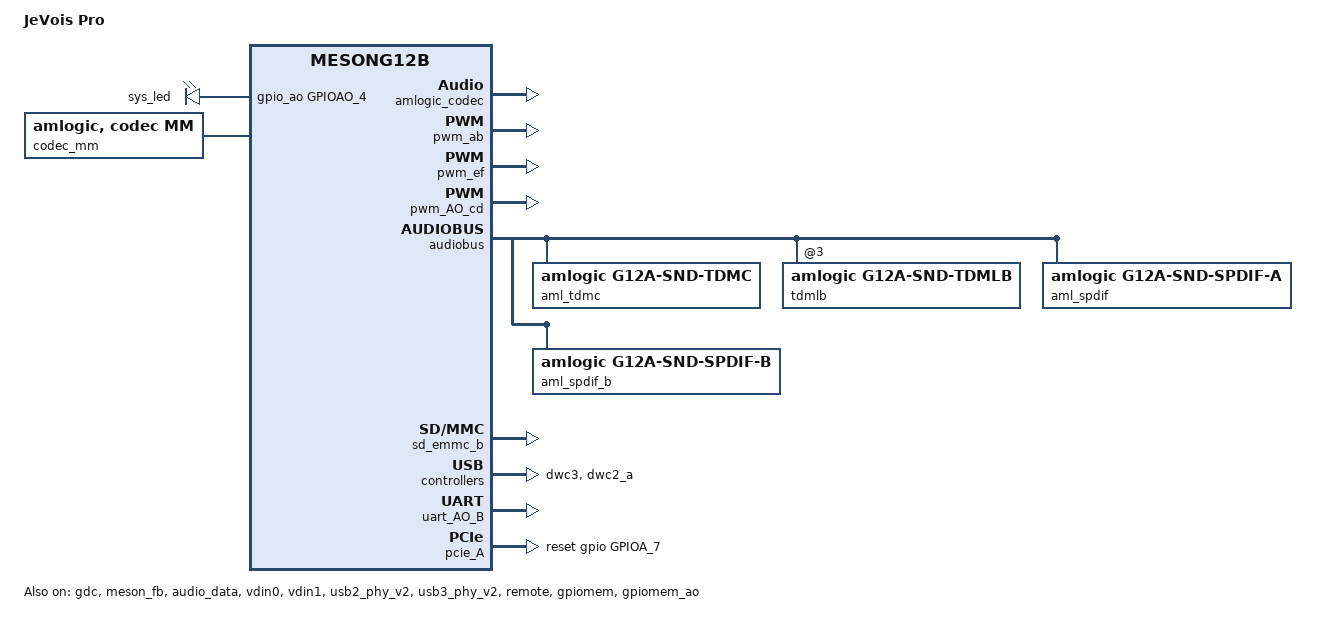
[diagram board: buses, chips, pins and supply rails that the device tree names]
/*
 * arch/arm64/boot/dts/amlogic/jvpro_linux.dts
 *
 * inspired by arch/arm64/boot/dts/amlogic/kvim3_linux.dts
 *
 * Copyright (C) 2020 JeVois Inc. All rights reserved.
 *
 * This program is free software; you can redistribute it and/or modify
 * it under the terms of the GNU General Public License as published by
 * the Free Software Foundation; either version 2 of the License, or
 * (at your option) any later version.
 *
 * This program is distributed in the hope that it will be useful, but WITHOUT
 * ANY WARRANTY; without even the implied warranty of MERCHANTABILITY or
 * FITNESS FOR A PARTICULAR PURPOSE.  See the GNU General Public License for
 * more details.
 *
 */

/dts-v1/;

#include "mesong12b.dtsi"
#include "partition_linux.dtsi"

/ {
	model = "JeVois Pro";
	amlogic-dt-id = "g12b_jvpro";
	compatible = "amlogic, g12b";
	interrupt-parent = <&gic>;
	#address-cells = <2>;
	#size-cells = <2>;

	chosen { };

	aliases {
		serial0 = &uart_AO; // on by default
		serial1 = &uart_A;
		serial2 = &uart_B;
		serial3 = &uart_C;
		serial4 = &uart_AO_B;
		i2c0 = &i2c0;
		i2c1 = &i2c1;
		i2c2 = &i2c2;
		i2c3 = &i2c3;
		i2c4 = &i2c_AO;
		tsensor0 = &p_tsensor;
		tsensor1 = &d_tsensor;
		spi1 = &spicc1;
	};

    //	memory@00000000 {
        //		device_type = "memory";
        //		linux,usable-memory = <0x0 0x0 0x0 0x80000000>;
    //	};

	reserved-memory {
		#address-cells = <2>;
		#size-cells = <2>;
		ranges;
        
		/* global autoconfigured region for contiguous allocations */
		ramoops@0x07400000 {
			compatible = "ramoops";
			reg = <0x0 0x07400000 0x0 0x00100000>;
			record-size = <0x8000>;
			console-size = <0x8000>;
			ftrace-size = <0x40000>;
		};

		secmon_reserved:linux,secmon {
			compatible = "shared-dma-pool";
			reusable;
			size = <0x0 0x400000>;
			alignment = <0x0 0x400000>;
			alloc-ranges = <0x0 0x05000000 0x0 0x400000>;
			clear-map;
		};

		secos_reserved:linux,secos {
			status = "disable";
			compatible = "amlogic, aml_secos_memory";
			reg = <0x0 0x05300000 0x0 0x2000000>;
			no-map;
		};
        
		logo_reserved:linux,meson-fb {
			compatible = "shared-dma-pool";
			reusable;
			size = <0x0 0x800000>;
			alignment = <0x0 0x400000>;
			alloc-ranges = <0x0 0x7f800000 0x0 0x800000>;
		};
        
		ion_cma_reserved:linux,ion-dev {
			compatible = "shared-dma-pool";
			reusable;
			size = <0x0 0x8000000>;
			alignment = <0x0 0x400000>;
		};

		//di_reserved:linux,di {
			//compatible = "amlogic, di-mem";
			/* buffer_size = 3621952(yuv422 8bit) */
			/* 4179008(yuv422 10bit full pack mode) */
			/** 10x3621952=34.6M(0x23) support 8bit **/
			/** 10x4736064=45.2M(0x2e) support 12bit **/
			/** 10x4179008=40M(0x28) support 10bit **/
			//size = <0x0 0x2800000>;
			//no-map;
		//};
        
		/*di CMA pool */
		di_cma_reserved:linux,di_cma {
			compatible = "shared-dma-pool";
			reusable;
			/* buffer_size = 3621952(yuv422 8bit)
			 *  | 4736064(yuv422 10bit)
			 *  | 4074560(yuv422 10bit full pack mode)
			 * 10x3621952=34.6M(0x23) support 8bit
			 * 10x4736064=45.2M(0x2e) support 12bit
			 * 10x4074560=40M(0x28) support 10bit
			 */
			size = <0x0 0x02800000>;
			alignment = <0x0 0x400000>;
		};
        
		/*  POST PROCESS MANAGER */
		ppmgr_reserved:linux,ppmgr {
			compatible = "shared-dma-pool";
			size = <0x0 0x0>;
		};
        
		codec_mm_cma:linux,codec_mm_cma {
			compatible = "shared-dma-pool";
			reusable;
			/* ion_codec_mm max can alloc size 80M*/
			size = <0x0 0x13400000>;
			alignment = <0x0 0x400000>;
			linux,contiguous-region;
		};
        
		/* codec shared reserved */
		codec_mm_reserved:linux,codec_mm_reserved {
			compatible = "amlogic, codec-mm-reserved";
			size = <0x0 0x0>;
			alignment = <0x0 0x100000>;
			//no-map;
		};
        
		/*  vdin0 CMA pool */
		vdin0_cma_reserved:linux,vdin0_cma {
			compatible = "shared-dma-pool";
			reusable;
		    /* 1920x1080x2x4  =16+4 M */
			size = <0x0 0x04000000>;
			alignment = <0x0 0x400000>;
		};
        
		/*  vdin1 CMA pool */
		vdin1_cma_reserved:linux,vdin1_cma {
			compatible = "shared-dma-pool";
			reusable;
			/* 1920x1080x2x4  =16 M */
			size = <0x0 0x04000000>;
			alignment = <0x0 0x400000>;
		};
        
		galcore_reserved:linux,galcore {
			compatible = "shared-dma-pool";
			reusable;
			size = <0x0 0x1000000>;
			alignment = <0x0 0x400000>;
			linux,contiguous-region;
		};
        
		isp_cma_reserved:linux,isp_cma {
			compatible = "shared-dma-pool";
			reusable;
			status = "okay";
			size = <0x0 0x1f000000>;
			alignment = <0x0 0x400000>;
		};

		adapt_cma_reserved:linux,adapt_cma {
			compatible = "shared-dma-pool";
			reusable;
			status = "okay";
			size = <0x0 0x03000000>;
			alignment = <0x0 0x400000>;
		};
		gdc_cma_reserved:linux,gdc_cma {
			compatible = "shared-dma-pool";
			reusable;
			status = "okay";
			size = <0x0 0x04000000>;
			alignment = <0x0 0x400000>;
		};
	};

    // GPU:
	galcore {
		status = "okay";
		memory-region = <&galcore_reserved>;
	};

    // JEVOIS red LED on GPIOAO_4
	gpioleds {
		compatible = "gpio-leds";
		status = "okay";

		sys_led {
			label="sys_led";
			gpios=<&gpio_ao GPIOAO_4 GPIO_ACTIVE_HIGH>;
			default-state ="on";
			retain-state-suspended;
			linux,default-trigger="default-on";
		};
	};

    // JEVOIS: cvbs output not connected
    cvbsout {
		compatible = "amlogic, cvbsout-g12b";
		dev_name = "cvbsout";
		status = "disabled";
		clocks = <&clkc CLKID_VCLK2_ENCI
			&clkc CLKID_VCLK2_VENCI0
			&clkc CLKID_VCLK2_VENCI1
			&clkc CLKID_DAC_CLK>;
		clock-names = "venci_top_gate",
			"venci_0_gate",
			"venci_1_gate",
			"vdac_clk_gate";

		/* performance: reg_address, reg_value */
		/* g12b */
		performance = <0x1bf0  0x9
			0x1b56  0x333
			0x1b12  0x8080
			0x1b05  0xfd
			0x1c59  0xf850
			0xffff  0x0>; /* ending flag */
		performance_sarft = <0x1bf0  0x9
			0x1b56  0x333
			0x1b12  0x0
			0x1b05  0x9
			0x1c59  0xfc48
			0xffff  0x0>; /* ending flag */
	};

    // JEVOIS for optional add-in M.2 wifi/bluetooth card
    // JEVOIS uses: GPIOX_17=BT_EN, GPIOX_18=BT_WAKE_HOST, GPIOX_19=HOST_WAKE_BT
    // See linux/drivers/amlogic/bluetooth/bt_device.c
    // Looks like BT_WAKE_HOST is not supported in driver; it supports reset but we do not have that on the M.2 conn.
    // Note: disabled by default, can be enabled with wifi-bt.dts overlay.
	bt_dev {
		compatible = "amlogic, bt-dev";
		dev_name = "bt-dev";
		status = "disabled";
		//gpio_reset = <&gpio GPIOX_17 GPIO_ACTIVE_HIGH>;
		gpio_en = <&gpio GPIOX_17 GPIO_ACTIVE_HIGH>;
		gpio_hostwake = <&gpio GPIOX_19 GPIO_ACTIVE_HIGH>;
	};

    // JEVOIS for optional add-in M.2 wifi/bluetooth card
    // JEVOIS uses GPIOX_6=WIFI_PWREN, GPIOX_7=WIFI_WAKE_HOST, GPIOX_16/PWM_E=WIFI_32K
    // GPIOA_10 = PCIE_ALERT#
    // See linux/drivers/amlogic/wifi/wifi_dt.c
    // Note: disabled by default, can be enabled with wifi-bt.dts overlay.
	wifi {
		compatible = "amlogic, aml_wifi";
		dev_name = "aml_wifi";
		status = "disabled";
		interrupt_pin = <&gpio GPIOA_10 GPIO_ACTIVE_HIGH>;
		irq_trigger_type = "GPIO_IRQ_LOW";
		power_on_pin = <&gpio GPIOX_6 GPIO_ACTIVE_HIGH>;
		//dhd_static_buf;	// if use bcm wifi, config dhd_static_buf
		pinctrl-names = "default";
		pinctrl-0 = <&pwm_e_pins>;
		pwm_config = <&wifi_pwm_conf>;
	};

    // Configuration for PWM E and F.
    // JEVOIS uses PWM_E on GPIOX_16 for WIFI_32K, PWM_F unused (available on CAM_ID3)
	wifi_pwm_conf:wifi_pwm_conf {
		pwm_channel1_conf {
			pwms = <&pwm_ef MESON_PWM_0 30541 0>;
			duty-cycle = <15270>;
			times = <10>;
		};
        
        // FIXME what is this for?
		pwm_channel2_conf {
			pwms = <&pwm_ef MESON_PWM_2 30500 0>;
			duty-cycle = <15250>;
			times = <12>;
		};
	};

	picdec_cma_reserved:linux,picdec {
		compatible = "shared-dma-pool";
		reusable;
		size = <0x0>;
		alignment = <0x0>;
		linux,contiguous-region;
	};

	codec_mm {
		compatible = "amlogic, codec, mm";
		memory-region = <&codec_mm_cma &codec_mm_reserved>;
		dev_name = "codec_mm";
		status = "okay";
	};

	ppmgr {
		compatible = "amlogic, ppmgr";
		memory-region = <&ppmgr_reserved>;
		dev_name = "ppmgr";
		status = "okay";
	};

	gpiomem {
		compatible = "amlogic, gpiomem";
		reg = <0x0 0xff634000 0x0 0x1000>;
		dev_name = "gpiomem";
		status = "okay";
	};

	gpiomem_ao {
		compatible = "amlogic, gpiomem";
		reg = <0x0 0xff800000 0x0 0x1000>;
		dev_name = "gpiomem-ao";
		status = "okay";
	};

	picdec {
		compatible = "amlogic, picdec";
		memory-region = <&picdec_cma_reserved>;
		dev_name = "picdec";
		status = "okay";
	};

	deinterlace {
		compatible = "amlogic, deinterlace";
		status = "okay";
		/* 0:use reserved; 1:use cma; 2:use cma as reserved */
		flag_cma = <1>;
		//memory-region = <&di_reserved>;
		memory-region = <&di_cma_reserved>;
		interrupts = <0 46 1
				0 40 1>;
		interrupt-names = "pre_irq", "post_irq";
		clocks = <&clkc CLKID_VPU_CLKB_TMP_COMP>,
			<&clkc CLKID_VPU_CLKB_COMP>;
		clock-names = "vpu_clkb_tmp_composite",
			"vpu_clkb_composite";
		clock-range = <334 667>;
		/* buffer-size = <3621952>;(yuv422 8bit) */
		buffer-size = <4074560>;/*yuv422 fullpack*/
		/* reserve-iomap = "true"; */
		/* if enable nr10bit, set nr10bit-support to 1 */
		post-wr-support = <1>;
		nr10bit-support = <1>;
		nrds-enable = <1>;
		pps-enable = <1>;
	};
    
	ionvideo {
		compatible = "amlogic, ionvideo";
		dev_name = "ionvideo";
		status = "okay";
	};

	amlvideo2_0 {
		compatible = "amlogic, amlvideo2";
		dev_name = "amlvideo2";
		status = "okay";
		amlvideo2_id = <0>;
		cma_mode = <1>;
	};

	amlvideo2_1 {
		compatible = "amlogic, amlvideo2";
		dev_name = "amlvideo2";
		status = "okay";
		amlvideo2_id = <1>;
		cma_mode = <1>;
	};

    // JEVOIS: we have no button, thus disabled, except dolby_fw needs it when compiling the kernel. So assign an unused
    // GPIO, eg GPIOAO_7 (unconnected on jevois)
	gpio_keypad {
		compatible = "amlogic, gpio_keypad";
		status = "disabled";
		scan_period = <20>;
		key_num = <1>;
		key_name = "power";
		key_code = <116>;
		key-gpios = <&gpio_ao GPIOAO_7 GPIO_ACTIVE_HIGH>; /* GPIOAO_7 */
		detect_mode = <0>;/*0:polling mode, 1:irq mode*/
	};

    // JEVOIS: the SARADC converter is unconnected. Here only for software compaibility.
	adc_keypad {
		compatible = "amlogic, adc_keypad";
		status = "disabled";
		key_name = "vol-", "vol+", "enter";
		key_num = <3>;
		io-channels = <&saradc SARADC_CH2>;
		io-channel-names = "key-chan-2";
		key_chan = <SARADC_CH2 SARADC_CH2 SARADC_CH2>;
		key_code = <114 115 28>;
		key_val = <143 266 389>; //val=voltage/1800mV*1023
		key_tolerance = <40 40 40>;
	};

    // JEVOIS: this is for data stored in OTP memory
	unifykey{
		compatible = "amlogic, unifykey";
		status = "ok";
		unifykey-num = <16>;
		unifykey-index-0 = <&keysn_0>;
		unifykey-index-1 = <&keysn_1>;
		unifykey-index-2 = <&keysn_2>;
		unifykey-index-3 = <&keysn_3>;
		unifykey-index-4 = <&keysn_4>;
		unifykey-index-5 = <&keysn_5>;
		unifykey-index-6 = <&keysn_6>;
		unifykey-index-7 = <&keysn_7>;
		unifykey-index-8 = <&keysn_8>;
		unifykey-index-9 = <&keysn_9>;
		unifykey-index-10= <&keysn_10>;
		unifykey-index-11= <&keysn_11>;
		unifykey-index-12= <&keysn_12>;
		unifykey-index-13= <&keysn_13>;
		unifykey-index-14= <&keysn_14>;
		unifykey-index-15= <&keysn_15>;

		keysn_0: key_0{
			key-name = "usid";
			key-device = "normal";
			key-permit = "read","write","del";
		};
		keysn_1:key_1{
			key-name = "mac";
			key-device = "normal";
			key-permit = "read","write","del";
		};
		keysn_2:key_2{
			key-name = "hdcp";
			key-device = "secure";
			key-type = "sha1";
			key-permit = "read","write","del";
		};
		keysn_3:key_3{
			key-name = "secure_boot_set";
			key-device = "efuse";
			key-permit = "write";
		};
		keysn_4:key_4{
			key-name = "mac_bt";
			key-device = "normal";
			key-permit = "read","write","del";
			key-type  = "mac";
		};
		keysn_5:key_5{
			key-name = "mac_wifi";
			key-device = "normal";
			key-permit = "read","write","del";
			key-type = "mac";
		};
		keysn_6:key_6{
			key-name = "hdcp2_tx";
			key-device = "normal";
			key-permit = "read","write","del";
		};
		keysn_7:key_7{
			key-name = "hdcp2_rx";
			key-device = "normal";
			key-permit = "read","write","del";
		};
		keysn_8:key_8{
			key-name = "widevinekeybox";
			key-device = "secure";
			key-permit = "read","write","del";
		};
		keysn_9:key_9{
			key-name = "deviceid";
			key-device = "normal";
			key-permit = "read","write","del";
		};
		keysn_10:key_10{
			key-name = "hdcp22_fw_private";
			key-device = "secure";
			key-permit = "read","write","del";
		};
		keysn_11:key_11{
			key-name = "PlayReadykeybox25";
			key-device = "secure";
			key-permit = "read","write","del";
		};
		keysn_12:key_12{
			key-name = "prpubkeybox";// PlayReady
			key-device = "secure";
			key-permit = "read","write","del";
		};
		keysn_13:key_13{
			key-name = "prprivkeybox";// PlayReady
			key-device = "secure";
			key-permit = "read","write","del";
		};
		keysn_14:key_14{
			key-name = "netflix_mgkid";
			key-device = "secure";
			key-permit = "read","write","del";
		};
		keysn_15:key_15{
			key-name = "eth_exphy_para";
			key-device = "normal";
			key-permit = "read","write","del";
		};
	};//End unifykey

	efuse: efuse {
		compatible = "amlogic, efuse";
		read_cmd = <0x82000030>;
		write_cmd = <0x82000031>;
		get_max_cmd = <0x82000033>;
		key = <&efusekey>;
		status = "okay";
	};

	efusekey:efusekey {
		keynum = <1>;
		key0 = <&key_0>;
		key_0:key_0 {
			keyname = "mac";
			offset = <0>;
			size = <6>;
		};
	};//End efusekey

	amlvecm {
		compatible = "amlogic, vecm";
		dev_name = "aml_vecm";
		status = "okay";
		gamma_en = <0>;/*1:enabel ;0:disable*/
		wb_en = <0>;/*1:enabel ;0:disable*/
		cm_en = <0>;/*1:enabel ;0:disable*/

		interrupts = <0 56 1>;
		interrupt-names = "vsync2";
	};
    
	amdolby_vision {
		compatible = "amlogic, dolby_vision_g12a";
		dev_name = "aml_amdolby_vision_driver";
		status = "okay";
		tv_mode = <0>;/*1:enabel ;0:disable*/
	};

	/* Audio Related start */
	pdm_codec:dummy{
		#sound-dai-cells = <0>;
		compatible = "amlogic, pdm_dummy_codec";
		status = "okay";
	};
    
	spdif_codec:spdif_dummy{
		#sound-dai-cells = <0>;
		compatible = "linux,spdif-dit";
		status = "okay";
	};
    
	dummy_codec:dummy{
		#sound-dai-cells = <0>;
		compatible = "amlogic, aml_dummy_codec";
		status = "okay";
	};
    
	amlogic_codec:t9015{
		#sound-dai-cells = <0>;
		compatible = "amlogic, aml_codec_T9015";
		reg = <0x0 0xFF632000 0x0 0x2000>;
		is_auge_used = <1>; /* meson or auge chipset used */
		tdmout_index = <1>;
		status = "okay";
	};
    
	audio_effect:eqdrc{
		/*eq_enable = <1>;*/
		/*drc_enable = <1>;*/
		/*
		 * 0:tdmout_a
		 * 1:tdmout_b
		 * 2:tdmout_c
		 * 3:spdifout
		 * 4:spdifout_b
		 */
		eqdrc_module = <2>; // JEVOIS: was 1
		/* max 0xf, each bit for one lane, usually one lane */
		lane_mask = <0x1>;
		/* max 0xff, each bit for one channel */
		channel_mask = <0x3>;
	};
    
	auge_sound {
		compatible = "amlogic, g12a-sound-card";
		aml-audio-card,name = "AML-AUGESOUND";

		//aml-audio-card,aux-devs = <&amlogic_codec>;
		/*for audio effect ,eqdrc */
		aml-audio-card,effect = <&audio_effect>;

		aml-audio-card,dai-link@0 {
			mclk-fs = <128>;
			/* suffix-name, sync with android audio hal
			 * what's the dai link used for
			 */
			suffix-name = "alsaPORT-spdif-b";
			cpu {
				sound-dai = <&aml_spdif_b>;
				system-clock-frequency = <6144000>;
			};
			codec {
				sound-dai = <&spdif_codec>;
			};
		};

        // JEVOIS: BTPCM, we use tdmc on GPIOZ_2,3,6,7
        // VIM3 used tdma
		// aml-audio-card,dai-link@1 {
		// 	format = "dsp_a";
		// 	mclk-fs = <512>;
		// 	//continuous-clock;
		// 	//bitclock-inversion;
		// 	//frame-inversion;
		// 	//bitclock-master = <&tdmacodec>;
		// 	//frame-master = <&tdmacodec>;
		// 	/* suffix-name, sync with android audio hal
		// 	 * what's the dai link used for
		// 	 */
		// 	suffix-name = "alsaPORT-pcm";
		// 	tdmacpu: cpu {
		// 		sound-dai = <&aml_tdma>;
		// 		dai-tdm-slot-tx-mask =
		// 					<1 1 1 1 1 1 1 1>;
		// 		dai-tdm-slot-rx-mask =
		// 					<1 1 1 1 1 1 1 1>;
		// 		dai-tdm-slot-num = <8>;
		// 		dai-tdm-slot-width = <32>;
		// 		system-clock-frequency = <24576000>;
		// 	};
		// 	tdmacodec: codec {
		// 		sound-dai = <&dummy_codec &dummy_codec>;
		// 	};
		// };

        // JEVOIS; TDMB unused
		// aml-audio-card,dai-link@2 {
		// 	format = "i2s";
		// 	mclk-fs = <256>;
		// 	//continuous-clock;
		// 	//bitclock-inversion;
		// 	//frame-inversion;
		// 	bitclock-master = <&aml_tdmb>;
		// 	frame-master = <&aml_tdmb>;
		// 	//bitclock-master = <&tdmbcodec>;
		// 	//frame-master = <&tdmbcodec>;
		// 	/* suffix-name, sync with android audio hal
		// 	 * what's the dai link used for
		// 	 */
		// 	suffix-name = "alsaPORT-i2s";
		// 	cpu {
		// 		sound-dai = <&aml_tdmb>;
		// 		dai-tdm-slot-tx-mask = <1 1>;
		// 		dai-tdm-slot-rx-mask = <1 1>;
		// 		dai-tdm-slot-num = <2>;
		// 		dai-tdm-slot-width = <32>;
		// 		system-clock-frequency = <12288000>;
		// 	};
		// 	tdmbcodec: codec {
		// 		sound-dai = <&dummy_codec &dummy_codec
		// 		&amlogic_codec>;
		// 	};
		// };

		aml-audio-card,dai-link@3 {
			format = "i2s"; // JEVOIS was dsp_a i2s
			mclk-fs = <256>; // JEVOIS was 512 256
			//continuous-clock;
			//bitclock-inversion;
			//frame-inversion;
			//JEVOIS bitclock-master = <&aml_tdmc>;
			//JEVOIS frame-master = <&aml_tdmc>;
			/* suffix-name, sync with android audio hal
			 * what's the dai link used for
			 */
			suffix-name = "alsaPORT-pcm"; // was tdm
			cpu { ///////////////////////FIXME match TDMA above???
				sound-dai = <&aml_tdmc>;
				dai-tdm-slot-tx-mask = <1 1>;
				dai-tdm-slot-rx-mask = <1 1>;
				dai-tdm-slot-num = <2>;
				dai-tdm-slot-width = <32>;
				system-clock-frequency = <12288000>;
			};
			codec {
				sound-dai = <&dummy_codec &dummy_codec>;
			};
		};

		// aml-audio-card,dai-link@4 {
		// 	mclk-fs = <128>;
		// 	/* suffix-name, sync with android audio hal
		// 	 * what's the dai link used for
		// 	 */
		// 	suffix-name = "alsaPORT-spdif";
		// 	cpu {
		// 		sound-dai = <&aml_spdif>;
		// 		system-clock-frequency = <6144000>;
		// 	};
		// 	codec {
		// 		sound-dai = <&spdif_codec>;
		// 	};
		// };
	};
	audiolocker: locker {
		compatible = "amlogic, audiolocker";
		clocks = <&clkaudio CLKID_AUDIO_LOCKER_OUT
				&clkaudio CLKID_AUDIO_LOCKER_IN
				&clkaudio CLKID_AUDIO_MCLK_D
				&clkaudio CLKID_AUDIO_MCLK_E
				&clkc CLKID_MPLL1
				&clkc CLKID_MPLL2>;
		clock-names = "lock_out", "lock_in", "out_src",
					"in_src", "out_calc", "in_ref";
		interrupts = <GIC_SPI 1 IRQ_TYPE_EDGE_RISING>;
		interrupt-names = "irq";
		frequency = <49000000>; /* pll */
		dividor = <49>; /* locker's parent */
		status = "okay";
	};
	/* Audio Related end */

	cpu_opp_table0: cpu_opp_table0 {
		compatible = "operating-points-v2";
		opp-shared;

		opp00 {
			opp-hz = /bits/ 64 <500000000>;
			opp-microvolt = <730000>;
		};
		opp01 {
			opp-hz = /bits/ 64 <667000000>;
			opp-microvolt = <730000>;
		};
		opp02 {
			opp-hz = /bits/ 64 <1000000000>;
			opp-microvolt = <760000>;
		};
		opp03 {
			opp-hz = /bits/ 64 <1200000000>;
			opp-microvolt = <780000>;
		};
		opp04 {
			opp-hz = /bits/ 64 <1398000000>;
			opp-microvolt = <810000>;
		};
		opp05 {
			opp-hz = /bits/ 64 <1512000000>;
			opp-microvolt = <860000>;
		};
		opp06 {
			opp-hz = /bits/ 64 <1608000000>;
			opp-microvolt = <900000>;
		};
		opp07 {
			opp-hz = /bits/ 64 <1704000000>;
			opp-microvolt = <960000>;
		};
		opp08 {
			opp-hz = /bits/ 64 <1800000000>;
			opp-microvolt = <1020000>;
		};
		opp09 {
			opp-hz = /bits/ 64 <1908000000>;
			opp-microvolt = <1030000>;
		};
		opp10 {
			opp-hz = /bits/ 64 <2016000000>;
			opp-microvolt = <1040000>;
		};
		opp11 {
			opp-hz = /bits/ 64 <2100000000>;
			opp-microvolt = <1040000>;
		};
		opp12 {
			opp-hz = /bits/ 64 <2208000000>;
			opp-microvolt = <1040000>;
		};
	};

	cpu_opp_table1: cpu_opp_table1 {
		compatible = "operating-points-v2";
		opp-shared;

		opp00 {
			opp-hz = /bits/ 64 <500000000>;
			opp-microvolt = <730000>;
		};
		opp01 {
			opp-hz = /bits/ 64 <667000000>;
			opp-microvolt = <730000>;
		};
		opp02 {
			opp-hz = /bits/ 64 <1000000000>;
			opp-microvolt = <730000>;
		};
		opp03 {
			opp-hz = /bits/ 64 <1200000000>;
			opp-microvolt = <750000>;
		};
		opp04 {
			opp-hz = /bits/ 64 <1398000000>;
			opp-microvolt = <770000>;
		};
		opp05 {
			opp-hz = /bits/ 64 <1512000000>;
			opp-microvolt = <770000>;
		};
		opp06 {
			opp-hz = /bits/ 64 <1608000000>;
			opp-microvolt = <780000>;
		};
		opp07 {
			opp-hz = /bits/ 64 <1704000000>;
			opp-microvolt = <790000>;
		};
		opp08 {
			opp-hz = /bits/ 64 <1800000000>;
			opp-microvolt = <830000>;
		};
		opp09 {
			opp-hz = /bits/ 64 <1908000000>;
			opp-microvolt = <860000>;
		};
		opp10 {
			opp-hz = /bits/ 64 <2016000000>;
			opp-microvolt = <910000>;
		};
		opp11 {
			opp-hz = /bits/ 64 <2100000000>;
			opp-microvolt = <960000>;
		};
		opp12 {
			opp-hz = /bits/ 64 <2208000000>;
			opp-microvolt = <1030000>;
		};
		opp13 {
			opp-hz = /bits/ 64 <2304000000>;
			opp-microvolt = <1030000>;
		};
		opp14 {
			opp-hz = /bits/ 64 <2400000000>;
			opp-microvolt = <1040000>;
		};
	};

	cpufreq-meson {
		compatible = "amlogic, cpufreq-meson";
		status = "okay";
	};

    // JEVOIS: onewire interface on AUX connector, multiplexed with SPI_B_SS
    // Disabled by default, can be enable with overlay aux-onewire.dts
    onewire:onewire {
		status = "disabled";
		compatible = "w1-gpio";
		gpios = <&gpio GPIOH_6 GPIO_ACTIVE_HIGH>;
	};
    
    // JEVOIS: camera sensor
    // Note: disabled by default. Appropriate sensor is enabled later in an overlay.
    // IR-CUT GPIOS: positive on CAM_GPIO5=GPIOA_1, negative on CAM_GPIO6=GPIOA_2
	sensor: sensor {
		compatible = "soc, sensor";
		status = "disabled";
		pinctrl-names="default";

        // Pixel clock generator: should be gen_clk_ee_ao or gen_clk_ao_pin
        //////		pinctrl-0=<&gen_clk_ao_pin>; // JEVOIS FIXME
		pinctrl-0=<&gen_clk_ee_ao>;
            
		clocks = <&clkc CLKID_GEN_CLK>;
		clock-names = "gen_clk";

        // Sensor GPIOs:
        reset = <&gpio GPIOA_11 GPIO_ACTIVE_HIGH>; // JEVOIS CAM_RESET
        power-enable = <&gpio GPIOA_12 GPIO_ACTIVE_HIGH>; // JEVOIS CAM_PDN0
		ir_cut_gpio = <&gpio GPIOA_1 GPIO_ACTIVE_HIGH
                       &gpio GPIOA_2 GPIO_ACTIVE_HIGH>; // JEVOIS CAM_GPIO5=+, CAM_GPIO6=-
	};

    // JEVOIS: camera sensor image quality (IQ) module
    // Note: disabled by default. Appropriate sensor is enabled later in an overlay.
	iq: iq {
		compatible = "soc, iq";
		status = "disabled";
	};
}; /* end of / */

// JEVOIS: camera sensor image signal processor (ISP) hardware support
// Note: disabled by default. Appropriate sensor is enabled later in an overlay.
&isp {
	status = "disabled";
	memory-region = <&isp_cma_reserved>;
};

// JEVOIS: camera sensor adapter
// Note: disabled by default. Appropriate sensor is enabled later in an overlay.
&adapter {
	status = "disabled";
	memory-region = <&adapt_cma_reserved>;
};

// JEVOIS: FIXME
&gdc {
	status = "okay";
	memory-region = <&gdc_cma_reserved>;
};

// JEVOIS: use framebuffer for HDMI output
&meson_fb {
	status = "okay";
	display_size_default = <1920 1080 1920 2160 32>;
	mem_size = <0x00800000 0x4b80000 0x100000 0x100000 0x800000>;
	logo_addr = "0x7f800000";
	mem_alloc = <1>;
	pxp_mode = <0>; /** 0:normal mode 1:pxp mode */
	4k2k_fb = <1>;
};

// JEVOIS: this PWM is used for CPU voltage control
&pwm_ab {
	status = "okay";
};

// JEVOIS: unused for now, PWM_E=WIFI_32K, PWM_F=CAM_GPIO10 on GPIOZ_12
&pwm_ef {
	status = "okay";
	pinctrl-names = "default";
	pinctrl-0 = <&pwm_f_pins3>; // GPIOZ_12
};

// JEVOIS: PWMAO_C is for fan, PWMAO_D for VDDCPU_B_PWM
// PWM_AO_C is /sys/class/pwm/pwmchip8/pwm0 and is used for fan control
&pwm_AO_cd {
	status = "okay";
	pinctrl-names = "default";
	pinctrl-0 = <&pwm_ao_c_pins2>; // PWM_AO_C on GPIOAO_6
};

// JEVOIS: Camera sensor I2C uses i2c0 on GPIOZ_0,1 (defined as i2c0_master_pins2 in mesong12b.dtsi)
// Note: disabled by default. Appropriate sensor is enabled later in an overlay.
&i2c0 {
	status = "disabled";
	pinctrl-names="default";
	pinctrl-0=<&i2c0_master_pins2>;
	clock-frequency = <400000>; /* default 400k */
};

// JEVOIS: I2C1 is not available because pins are used for other functions.
&i2c1 {
	status = "disabled";
};

// JEVOIS: I2C2 is available on AUX conn, uses GPIOZ_14,15 (defined as i2c2_master_pins2 in mesong12b.dtsi)
// Note: disabled by default so that GPIOs are not claimed. Can be enabled by overlay aux-i2c.dts
&i2c2 {
	status = "disabled";
	pinctrl-names="default";
	pinctrl-0=<&i2c2_master_pins2>;
	clock-frequency = <400000>; /* default 400k */
};

// JEVOIS: I2C3 is available on M.2 PCIe conn, uses GPIOA_14,15 (defined as i2c3_master_pins2 in mesong12b.dtsi)
// Note: disabled by default
&i2c3 {
	status = "disabled";
	pinctrl-names="default";
	pinctrl-0=<&i2c3_master_pins2>;
	clock-frequency = <400000>; /* default 400k */
};

// JEVOIS: i2c_AO is connected to M.2 camera connector (3.3V). JEVOIS uses GPIOAO_2,3 (ao_i2c_master_pins1)
// Currently unused (not connected on IMX290 board).
&i2c_AO {
	status = "disabled";
	pinctrl-names="default";
	pinctrl-0=<&ao_i2c_master_pins1>;
	clock-frequency = <400000>; /* default 400k */
};

&audiobus {
    // VIM3 uses TDMA as BTPCM; JEVOIS uses those pins for SPI_A
	// aml_tdma: tdma {
	// 	compatible = "amlogic, g12a-snd-tdma";
	// 	#sound-dai-cells = <0>;
	// 	dai-tdm-lane-slot-mask-in = <0 1>;
	// 	dai-tdm-oe-lane-slot-mask-out = <1 0>;
	// 	dai-tdm-clk-sel = <0>;
	// 	clocks = <&clkaudio CLKID_AUDIO_MCLK_A
	// 			&clkc CLKID_MPLL0>;
	// 	clock-names = "mclk", "clk_srcpll";
	// 	pinctrl-names = "tdm_pins";
	// 	pinctrl-0 = <&tdmout_a &tdmin_a>;
	// };

    // JEVOIS: TDMB not used
	// aml_tdmb: tdmb {
	// 	compatible = "amlogic, g12a-snd-tdmb";
	// 	#sound-dai-cells = <0>;
	// 	dai-tdm-lane-slot-mask-in = <0 1 0 0>;
	// 	dai-tdm-lane-slot-mask-out = <1 0 0 0>;
	// 	dai-tdm-clk-sel = <1>;
	// 	clocks = <&clkaudio CLKID_AUDIO_MCLK_B
	// 			&clkc CLKID_MPLL1
	// 			&clkc CLKID_MPLL0
	// 			&clkaudio CLKID_AUDIO_SPDIFOUT_CTRL>;
	// 	clock-names = "mclk", "clk_srcpll",
	// 		"samesource_srcpll", "samesource_clk";
	// 	pinctrl-names = "tdm_pins";
	// 	pinctrl-0 = <&tdmb_mclk &tdmout_b &tdmin_b>;
	// 	mclk_pad = <0>;  /* 0: mclk_0; 1: mclk_1 */
	// 	/*
	// 	 * 0: tdmout_a;
	// 	 * 1: tdmout_b;
	// 	 * 2: tdmout_c;
	// 	 * 3: spdifout;
	// 	 * 4: spdifout_b;
	// 	 */
	// 	samesource_sel = <3>;
	// };

    // JEVOIS: TDMC connected to BTPCM in M.2 PCIe conn
	aml_tdmc: tdmc {
		compatible = "amlogic, g12a-snd-tdmc";
		#sound-dai-cells = <0>;
		dai-tdm-lane-slot-mask-in = <1 0 0 0>;
		#dai-tdm-lane-slot-mask-out = <1 0 1 1>;
		#dai-tdm-lane-oe-slot-mask-in = <0 0 0 0>;
		#dai-tdm-lane-oe-slot-mask-out = <1 0 0 0>;
		dai-tdm-clk-sel = <2>;
		clocks = <&clkaudio CLKID_AUDIO_MCLK_C
				&clkc CLKID_MPLL2>;
		clock-names = "mclk", "clk_srcpll";
		pinctrl-names = "tdm_pins";
		pinctrl-0 = <&tdmout_c &tdmin_c>;
		//VIM3: pinctrl-0 = <&tdmc_mclk &tdmout_c &tdmin_c>;
		//VIM3: mclk_pad = <1>;  /* 0: mclk_0; 1: mclk_1 */
	};

    // JEVOIS: looks like audio loopback
	tdmlb: tdm@3 {
		compatible = "amlogic, g12a-snd-tdmlb";
		#sound-dai-cells = <0>;
		dai-tdm-lane-lb-slot-mask-in = <1 0 0 0>;
		dai-tdm-clk-sel = <1>;
		clocks = <&clkaudio CLKID_AUDIO_MCLK_B
				&clkc CLKID_MPLL1>;
		clock-names = "mclk", "clk_srcpll";
		/*
		 * select tdmin_lb src;
		 *0: TDMOUTA
		 *1: TDMOUTB
		 *2: TDMOUTC
		 *3: PAD_TDMINA
		 *4: PAD_TDMINB
		 *5: PAD_TDMINC
		 */
		lb-src-sel = <2>; // JEVOIS select TDMC (was 1 on VIM3)
		status = "okay";
	};

    // Audio SPDIF
	aml_spdif: spdif {
		compatible = "amlogic, g12a-snd-spdif-a";
		#sound-dai-cells = <0>;
		clocks = <&clkc CLKID_MPLL0
				&clkc CLKID_FCLK_DIV4
				&clkaudio CLKID_AUDIO_SPDIFIN
				&clkaudio CLKID_AUDIO_SPDIFOUT
				&clkaudio CLKID_AUDIO_SPDIFIN_CTRL
				&clkaudio CLKID_AUDIO_SPDIFOUT_CTRL>;
		clock-names = "sysclk", "fixed_clk", "gate_spdifin",
				"gate_spdifout", "clk_spdifin", "clk_spdifout";
		interrupts =
				<GIC_SPI 151 IRQ_TYPE_EDGE_RISING>;

		interrupt-names = "irq_spdifin";
		pinctrl-names = "spdif_pins",
					"spdif_pins_mute";
		pinctrl-0 = <&spdifout>;
		pinctrl-1 = <&spdifout_a_mute>;
		status = "okay";
	};
    
	aml_spdif_b: spdif_b {
		compatible = "amlogic, g12a-snd-spdif-b";
		#sound-dai-cells = <0>;
		clocks = <&clkc CLKID_MPLL0 /*CLKID_HIFI_PLL*/
				&clkaudio CLKID_AUDIO_SPDIFOUTB
				&clkaudio CLKID_AUDIO_SPDIFOUTB_CTRL>;
		clock-names = "sysclk",
				"gate_spdifout", "clk_spdifout";
		status = "okay";
	};

    // JEVOIS: not sure what this is but we use those pins for something else
	// aml_pdm: pdm {
	// 	compatible = "amlogic, g12a-snd-pdm";
	// 	#sound-dai-cells = <0>;
	// 	clocks = <&clkaudio CLKID_AUDIO_PDM
	// 		&clkc CLKID_FCLK_DIV3
	// 		&clkc CLKID_MPLL3
	// 		&clkaudio CLKID_AUDIO_PDMIN0
	// 		&clkaudio CLKID_AUDIO_PDMIN1>;
	// 	clock-names = "gate",
	// 		"sysclk_srcpll",
	// 		"dclk_srcpll",
	// 		"pdm_dclk",
	// 		"pdm_sysclk";
	// 	pinctrl-names = "pdm_pins";
	// 	pinctrl-0 = <&pdmin>;
	// 	filter_mode = <1>; /* mode 0~4, defalut:1 */
	// 	status = "disable";
	// };

	loopback:loopback@0 {
		compatible = "amlogic, g12a-loopback";
		#sound-dai-cells = <0>;

		clocks = <&clkaudio CLKID_AUDIO_PDM
			&clkc CLKID_FCLK_DIV3
			&clkc CLKID_MPLL3
			&clkaudio CLKID_AUDIO_PDMIN0
			&clkaudio CLKID_AUDIO_PDMIN1
			&clkc CLKID_MPLL0
			&clkaudio CLKID_AUDIO_MCLK_A>;
		clock-names = "pdm_gate",
			"pdm_sysclk_srcpll",
			"pdm_dclk_srcpll",
			"pdm_dclk",
			"pdm_sysclk",
			"tdminlb_mpll",
			"tdminlb_mclk";

		/* datain src
		 * 0: tdmin_a;
		 * 1: tdmin_b;
		 * 2: tdmin_c;
		 * 3: spdifin;
		 * 4: pdmin;
		 */
		datain_src = <2>; // JEVOIS was 4
		datain_chnum = <2>; // JEVOIS was 4
		datain_chmask = <0xf>;
		/* config which data pin for loopback */
		datain-lane-mask-in = <1 0 1 0>;

		/* calc mclk for datalb */
		mclk-fs = <256>;

		/* tdmin_lb src
		 * 0: tdmoutA
		 * 1: tdmoutB
		 * 2: tdmoutC
		 * 3: PAD_TDMINA_DIN*, refer to core pinmux
		 * 4: PAD_TDMINB_DIN*, refer to core pinmux
		 * 5: PAD_TDMINC_DIN*, refer to core pinmux
		 * 6: PAD_TDMINA_D*, oe, refer to core pinmux
		 * 7: PAD_TDMINB_D*, oe, refer to core pinmux
		 */
		/* if tdmin_lb >= 3, use external loopback */
		datalb_src = <2>; // JEVOIS was 1
		datalb_chnum = <2>;
		datalb_chmask = <0x3>;
		/* config which data pin as loopback */
		datalb-lane-mask-in = <1 0 0 0>;

		status = "disabled";
	};

	audioresample: resample {
		compatible = "amlogic, g12a-resample";
		clocks = <&clkc CLKID_MPLL3
				&clkaudio CLKID_AUDIO_MCLK_F
				&clkaudio CLKID_AUDIO_RESAMPLE_CTRL>;
		clock-names = "resample_pll", "resample_src", "resample_clk";
		/*same with toddr_src
		 *	TDMIN_A, 0
		 *	TDMIN_B, 1
		 *	TDMIN_C, 2
		 *	SPDIFIN, 3
		 *	PDMIN,  4
		 *	NONE,
		 *	TDMIN_LB, 6
		 *	LOOPBACK, 7
		 */
		resample_module = <4>;
		status = "disabled";
	};
    
	aml_pwrdet: pwrdet {
		compatible = "amlogic, g12a-power-detect";

		interrupts = <GIC_SPI 155 IRQ_TYPE_EDGE_RISING>;
		interrupt-names = "pwrdet_irq";

		/* pwrdet source sel
		 * 7: loopback;
		 * 6: tdmin_lb;
		 * 5: reserved;
		 * 4: pdmin;
		 * 3: spdifin;
		 * 2: tdmin_c;
		 * 1: tdmin_b;
		 * 0: tdmin_a;
		 */
		pwrdet_src = <4>;

		hi_th = <0x70000>;
		lo_th = <0x16000>;

		status = "disabled";
	};
}; /* end of audiobus */

&pinctrl_periphs {
    // AUDIO TDMA: VIM3 uses GPIOX_8,9,10,11 connected to BTPCM
    // JEVOIS does not use TDMA, those pins are used for SPI_A instead
	// tdmout_a: tdmout_a {
	// 	mux { /* GPIOX_11, GPIOX_10, GPIOX_9 */
	// 		groups = "tdma_sclk",
	// 			"tdma_fs",
	// 			"tdma_dout0";
	// 		function = "tdma_out";
	// 	};
	// };
	// tdmin_a: tdmin_a {
	// 	mux { /* GPIOX_8 */
	// 		groups = "tdma_din1";
	// 		function = "tdma_in";
	// 	};
	// };

    // AUDIO TDMB: VIM3 uses it as i2s on their aux connector
    // JEVOIS uses the tdmb pins on GPIOA, GPIOH, GPIOAO for other things. Thus disabled.
	// tdmb_mclk: tdmb_mclk {
	// 	mux {
	// 		groups = "mclk0_a";
	// 		function = "mclk0";
	// 		drive-strength = <2>;
	// 	};
	// };
	// tdmout_b: tdmout_b {
	// 	mux { /* GPIOA_1, GPIOA_2, GPIOA_3 */
	// 		groups = "tdmb_sclk",
	// 			"tdmb_fs",
	// 			"tdmb_dout0";
	// 		function = "tdmb_out";
	// 		drive-strength = <2>;
	// 	};
	// };
	// tdmin_b:tdmin_b {
	// 	mux { /* GPIOA_4 */
	// 		groups = "tdmb_din1"
	// 			/*,"tdmb_slv_sclk", "tdmb_slv_fs"*/;
	// 		function = "tdmb_in";
	// 		drive-strength = <2>;
	// 	};
	// };

    // AUDIO TDMC: VIM3 uses GPIOA_7-13 connected to their M.2 socket in non-standard way.
    // JEVOIS uses GPIOZ_2,3,6,7 connected to M.2 PCIe card for BTPCM

    // JEVOIS has no MCLK because it uses PCM and not I2S
	// tdmc_mclk: tdmc_mclk {
	// 	mux { /* GPIOA_11 */
	// 		groups = "mclk1_a";
	// 		function = "mclk1";
	// 	};
	// };

	tdmout_c: tdmout_c {
		mux { /* CLK, SYNC, DOUT = VIM3: GPIOA_12,13,8,7, JEVOIS: GPIOZ_7,6,2 */
			groups = "tdmc_sclk_z",
				"tdmc_fs_z",
				"tdmc_dout0_z";
			function = "tdmc_out";
		};
	};
	tdmin_c: tdmin_c {
		mux { /* DIN = VIM3: GPIOA_10, JEVOIS: GPIOZ_3 */
			groups = "tdmc_din1_z";
			function = "tdmc_in";
		};
	};

    // JEVOIS: was used for CAM_MCLK on W400 (GPIOZ_13)
	// 	mux {
	// 		groups = "clk12_24_z";
	// 		function = "clk12_24_ee";
	// 		drive-strength = <3>;
	// 	};
    // };

    // JEVOIS: 12/24 clock generator for second camera sensor, on GPIOZ_13 to CAM_MCLK2 on camera M.2 conn
    // NOTE: Currently unused.
	clk12_24_z_pins:clk12_24_z_pins {
		mux {
			groups = "clk12_24_z";
			function = "clk12_24_ee";
			drive-strength = <3>;
		};
    };

    // JEVOIS: Clock generator for second camera sensor, on GPIOZ_13 to CAM_MCLK2 on camera M.2 conn
    // NOTE: Currently unused.
    gen_clk_ee_z_pin: gen_clk_ee_z_pin {
		mux {
			groups="gen_clk_ee_z";
			function="gen_clk_ee";
			drive-strength = <3>;
		};
	};
    
    // JEVOIS: not sure what this is but we use those pins for something else
	// pdmin: pdmin {
	// 	mux { /* gpioa_5, gpioa_6, gpioa_7, gpioa_8, gpioa_9*/
	// 		groups = "pdm_din0_a",
	// 		/*"pdm_din1_a",*/
	// 		/*"pdm_din2_a",*/
	// 		/*"pdm_din3_a",*/
	// 		"pdm_dclk_a";
	// 		function = "pdm";
	// 	};
	// };
}; /* end of pinctrl_periphs */

// JEVOIS: SPDIF output is available on a test pad connected to GPIOAO_10
&pinctrl_aobus {
	spdifout: spdifout {
		mux { /* gpiao_10 */
			groups = "spdif_out_ao";
			function = "spdif_out_ao";
		};
	};
    
	spdifout_a_mute: spdifout_a_mute {
		mux { /* gpiao_10 */
			groups = "GPIOAO_10";
			function = "gpio_aobus";
		};
	};

    // JEVOIS GPIO_AO6 is for the fan
	// bl_pwm_off_pins:bl_pwm_off_pin {
	// 	mux {
	// 		pins = "GPIOAO_6";
	// 		function = "gpio_aobus";
	// 		output-low;
	// 	};
	// };

    // JEVOIS: Clock generator for the camera sensor, on GPIOAO_11 to CAM_MCLK on camera M.2 conn
    // FIXME: does not work?
    gen_clk_ao_pin: gen_clk_ao_pin {
		mux {
			groups="gen_clk_ao";
			function="gen_clk_ao";
			drive-strength = <3>;
		};
	};

    // JEVOIS: Clock generator for the camera sensor, on GPIOAO_11 to CAM_MCLK on camera M.2 conn
	gen_clk_ee_ao: gen_clk_ee_ao {
		mux {
			groups="gen_clk_ee_ao";
			function="gen_clk_ee_ao";
			drive-strength = <3>;
		};
	};

};  /* end of pinctrl_aobus */

// JEVOIS: IR remote output. Pins could be GPIOH_6 (used for SPI_B) or GPIOZ_10 (used for CAM_ID1)
// or GPIOAO_4 (used by JEVOIS_LED). Thus it is disabled.
&irblaster {
	status = "disabled";
};

// JEVOIS: enable audio data
&audio_data {
	status = "okay";
};

// JEVOIS: video in used for encoding? FIXME
&vdin0 {
	memory-region = <&vdin0_cma_reserved>;
	status = "okay";
	/*vdin write mem color depth support:
	 *bit0:support 8bit
	 *bit1:support 9bit
	 *bit2:support 10bit
	 *bit3:support 12bit
	 *bit4:support yuv422 10bit full pack mode (from txl new add)
	 */
	tv_bit_mode = <0x15>;
};

&vdin1 {
	memory-region = <&vdin1_cma_reserved>;
	status = "okay";
	/*vdin write mem color depth support:
	 *bit0:support 8bit
	 *bit1:support 9bit
	 *bit2:support 10bit
	 *bit3:support 12bit
	 */
	tv_bit_mode = <1>;
};

// JEVOIS: eMMC pins are on M.2 PCIe connector. A311D supports up to HS200 (no HS400), 8-bit = 200 MByte/s
&sd_emmc_c {
	status = "disabled";
	emmc {
		caps = "MMC_CAP_8_BIT_DATA",
			 "MMC_CAP_MMC_HIGHSPEED",
			 "MMC_CAP_SD_HIGHSPEED",
			 "MMC_CAP_NONREMOVABLE",
			/* "MMC_CAP_1_8V_DDR", */
			 "MMC_CAP_HW_RESET",
			 "MMC_CAP_ERASE",
			 "MMC_CAP_CMD23",
			 "MMC_CAP_DRIVER_TYPE_A";
		caps2 = "MMC_CAP2_HS200";
		/*MMC_CAP2_HS400"*/
		f_min = <400000>;
		f_max = <200000000>;
	};
};

// JEVOIS sd card. SD_MODE (switch I/O voltage to 1.8V when active, for UHS-I SDR104 speed) is on GPIOA_9.
// We do not have a power on/off switch pin. SDR104 is supported.
&sd_emmc_b {
	status = "okay";
    sd-uhs-sdr25;
	sd-uhs-sdr50;
	sd-uhs-sdr104;
	max-frequency = <208000000>;
	sd {
		caps = "MMC_CAP_4_BIT_DATA",
			 "MMC_CAP_UHS_SDR25",
			 "MMC_CAP_UHS_SDR50",
			 "MMC_CAP_UHS_SDR104",
			 "MMC_CAP_MMC_HIGHSPEED",
			 "MMC_CAP_SD_HIGHSPEED",
			 "MMC_CAP_ERASE",
			 "MMC_CAP_CMD23";
		vol_switch = <&gpio GPIOA_9 GPIO_ACTIVE_HIGH>;
		vol_switch_18 = <1>;
		f_min = <400000>;
		f_max = <208000000>;
	};
};

// JEVOIS sdio on M.2 PCIE connector
&sd_emmc_a {
	status = "disabled";
	sdio {
		caps = "MMC_CAP_4_BIT_DATA",
			 "MMC_CAP_MMC_HIGHSPEED",
			 "MMC_CAP_SD_HIGHSPEED",
			 "MMC_CAP_NONREMOVABLE",
			 "MMC_CAP_UHS_SDR12",
			 "MMC_CAP_UHS_SDR25",
			 "MMC_CAP_UHS_SDR50",
			 "MMC_CAP_UHS_SDR104",
			 "MMC_PM_KEEP_POWER",
			 "MMC_CAP_SDIO_IRQ";
		f_min = <400000>;
		f_max = <200000000>;
	};
};

// JEVOIS: we use the USB3 controller, but only with USB2 data as we use PCIe instead of USB3 SSTX/SSRX
&dwc3 {
	status = "okay";
};

// JEVOIS: USB2 OTG connected to 4-pin mini-USB (OTG) connector, power enable pin USB_PWR_EN on GPIOA_6
// USB ID/OTG host vs. device detection pin is a dedicated pin (not GPIO).
&usb2_phy_v2 {
	status = "okay";
	portnum = <2>;
	gpio-vbus-power = "GPIOA_6";
	gpios = <&gpio GPIOA_6 GPIO_ACTIVE_HIGH>;
};

// JEVOIS: USB3 port PHY:
&usb3_phy_v2 {
	status = "okay";
	portnum = <1>;
	otg = <1>;
};

// JEVOIS USB2 OTG port PHY:
&dwc2_a {
	status = "okay";
	/** 0: normal, 1: otg+dwc3 host only, 2: otg+dwc3 device only*/
	controller-type = <3>;
};

// JEVOIS: UART on 4-pin serial on GPIOAO_8,9 and /dev/ttyS4 under Linux.
// /dev/ttyS0 is the console, exported to test pads and enabled by default (uart_AO_A)
&uart_AO_B {
	status = "okay";
	pinctrl-0 = <&ao_b_uart_pins2>; // JEVOIS: added definition in mesong12b.dtsi for GPIOAO_8,9
};

// JEVOIS: we use PCIe and thus not USB3 (run USB3 port as USB2 only):
// We use GPIOA_7 connected to PERST0# on M.2 PCIe conn
// We use GPIOZ_8 as WIFI_RESET connected to SDIO_Reset of M.2 PCIe conn
// We use GPIOX_6 as WIFI_PWREN connected to W_DISABLE#1 of M.2 PCIe conn
// We use GPIOX_17 as BT_EN connected to W_DISABLE#2 of M.2 PCIe conn
// NOTE: we connect GPIOC_7 to PCIECK_REQN but it looks like maybe the software does not support this
// (GPIOC_7 is only defined as world_sync_c_pins in pinctrl-meson-g12a.c)
&pcie_A {
    reset-gpio = <&gpio GPIOA_7 GPIO_ACTIVE_HIGH>; // PERST0# (JEVOIS: used by TPU1, WIFI cards, etc)
    reset2-gpio = <&gpio GPIOZ_8 GPIO_ACTIVE_HIGH>; // WIFI_RESET; JEVOIS only: reset a second device (e.g., TPU2)
    power1-gpio = <&gpio GPIOX_6 GPIO_ACTIVE_HIGH>; // JEVOIS only: power on a device (e.g., TPU1)
    power2-gpio = <&gpio GPIOX_17 GPIO_ACTIVE_HIGH>; // JEVOIS only: power on a device (e.g., TPU2)
    status = "okay";
};

// JEVOIS: the SARADC converter is not connected.
&saradc {
	status = "disabled";
};

// JEVOIS: SPI_A (GPIOX_8-11) to M.2 camera conn for IMU:
// Note: disabled by default, can be enabled using icm20948.dts overlay.
&spicc0 {
	status = "disabled";
	pinctrl-names = "default";
	pinctrl-0 = <&spicc0_pins_x>;
	cs-gpios = <&gpio GPIOX_10 0>; // SPI_A_SS0
};

// JEVOIS: SPI_B (GPIOH_4-7) to AUX connector. Disabled by default so GPIOs are not claimed.
// Can be enabled using overlay aux-spi.dts
&spicc1 {
	status = "disabled";
	pinctrl-names = "default";
	pinctrl-0 = <&spicc1_pins>;
	cs-gpios = <&gpio GPIOH_6 0>; // SPI_B_SS0
};

// JEVOIS: IR remote input on GPIOAO_5
&remote {
	status = "okay";
};


// JEVOIS: no LCD
// &lcd {
//      status = "disabled";
// 	lcd_cpu-gpios = <&gpio_expander 0 GPIO_ACTIVE_HIGH
// 	        &gpio_expander 1 GPIO_ACTIVE_HIGH>;
// 	lcd_cpu_gpio_names = "GPIO_EXPANDER_0","GPIO_EXPANDER_1";
// };

// JEVOIS: watchdog timer, disabled by default, can be enabled with wdt.dts overlay.
&wdt {
	reset_watchdog_method = <0>; /* 0:sysfs,1:kernel */
	status = "disabled";
};
